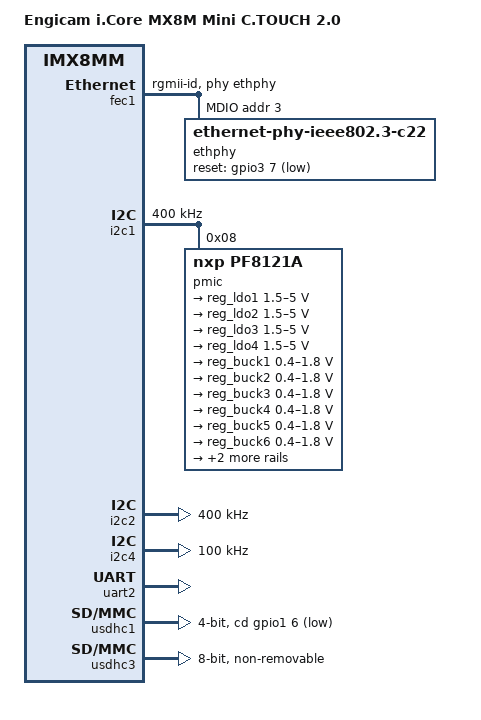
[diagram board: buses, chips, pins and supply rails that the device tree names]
// SPDX-License-Identifier: (GPL-2.0+ OR MIT)
/*
 * Copyright 2019 NXP
 */

/dts-v1/;

#include "imx8mm.dtsi"

/ {
	model = "Engicam i.Core MX8M Mini C.TOUCH 2.0";
	compatible = "engicam,icore-mx8mm-ctouch2", "engicam,icore-mx8mm",
                     "fsl,imx8mm";

	chosen {
		bootargs = "console=ttymxc1,115200 earlycon=ec_imx6q,0x30890000,115200";
		stdout-path = &uart2;
	};
};

&A53_0 {
	cpu-supply = <&reg_buck4>;
};

&A53_1 {
        cpu-supply = <&reg_buck4>;
};

&A53_2 {
        cpu-supply = <&reg_buck4>;
};

&A53_3 {
        cpu-supply = <&reg_buck4>;
};

&fec1 {
        pinctrl-names = "default";
        pinctrl-0 = <&pinctrl_fec1>;
        phy-mode = "rgmii-id";
        phy-handle = <&ethphy>;
	status="okay";

        mdio {
                #address-cells = <1>;
                #size-cells = <0>;

                ethphy: ethernet-phy@3 {
                        compatible = "ethernet-phy-ieee802.3-c22";
                        reg = <3>;
                        reset-gpios = <&gpio3 7 GPIO_ACTIVE_LOW>;
                        reset-assert-us = <10000>;
                };
        };
};

&i2c1 {
        clock-frequency = <400000>;
        pinctrl-names = "default";
        pinctrl-0 = <&pinctrl_i2c1>;
        status = "okay";

        pmic@8 {
                compatible = "nxp,pf8121a";
                reg = <0x08>;

                regulators {
                        reg_ldo1: ldo1 {
                                regulator-min-microvolt = <1500000>;
                                regulator-max-microvolt = <5000000>;
                                regulator-always-on;
                                regulator-boot-on;
                        };

                        reg_ldo2: ldo2 {
                                regulator-min-microvolt = <1500000>;
                                regulator-max-microvolt = <5000000>;
                                regulator-always-on;
                                regulator-boot-on;
                        };

                        reg_ldo3: ldo3 {
                                regulator-min-microvolt = <1500000>;
                                regulator-max-microvolt = <5000000>;
                                regulator-always-on;
                                regulator-boot-on;
                        };

                        reg_ldo4: ldo4 {
                                regulator-min-microvolt = <1500000>;
                                regulator-max-microvolt = <5000000>;
                                regulator-always-on;
                                regulator-boot-on;
                        };

                        reg_buck1: buck1 {
                                regulator-min-microvolt =  <400000>;
                                regulator-max-microvolt = <1800000>;
                                regulator-always-on;
                                regulator-boot-on;
                        };

			reg_buck2: buck2 {
                                regulator-min-microvolt =  <400000>;
                                regulator-max-microvolt = <1800000>;
                                regulator-always-on;
                                regulator-boot-on;
                        };

                        reg_buck3: buck3 {
                                regulator-min-microvolt =  <400000>;
                                regulator-max-microvolt = <1800000>;
                                regulator-always-on;
                                regulator-boot-on;
                        };

                        reg_buck4: buck4 {
                                regulator-min-microvolt =  <400000>;
                                regulator-max-microvolt = <1800000>;
                                regulator-always-on;
                                regulator-boot-on;
                        };

                        reg_buck5: buck5 {
                                regulator-min-microvolt =  <400000>;
                                regulator-max-microvolt = <1800000>;
                                regulator-always-on;
                                regulator-boot-on;
                        };

                        reg_buck6: buck6 {
                                regulator-min-microvolt =  <400000>;
                                regulator-max-microvolt = <1800000>;
                                regulator-always-on;
                                regulator-boot-on;
                        };

                        reg_buck7: buck7 {
                                regulator-min-microvolt = <3300000>;
                                regulator-max-microvolt = <3300000>;
                                regulator-always-on;
                                regulator-boot-on;
                        };

                        reg_vsnvs: vsnvs {
                                regulator-min-microvolt = <1800000>;
                                regulator-max-microvolt = <3300000>;
                                regulator-always-on;
                                regulator-boot-on;
                        };
                };
        };
};

&i2c2 {
	clock-frequency = <400000>;
	pinctrl-names = "default";
	pinctrl-0 = <&pinctrl_i2c2>;
	status = "okay";
};

&i2c4 {
        clock-frequency = <100000>;
        pinctrl-names = "default";
        pinctrl-0 = <&pinctrl_i2c4>;
        status = "okay";
};

&uart2 { /* console */
	pinctrl-names = "default";
	pinctrl-0 = <&pinctrl_uart2>;
	status = "okay";
};

&iomuxc {
	pinctrl-names = "default";

	pinctrl_fec1: fec1grp {
                fsl,pins = <
                        MX8MM_IOMUXC_ENET_MDC_ENET1_MDC                 0x3
                        MX8MM_IOMUXC_ENET_MDIO_ENET1_MDIO               0x3
                        MX8MM_IOMUXC_ENET_TD3_ENET1_RGMII_TD3           0x1f
                        MX8MM_IOMUXC_ENET_TD2_ENET1_RGMII_TD2           0x1f
                        MX8MM_IOMUXC_ENET_TD1_ENET1_RGMII_TD1           0x1f
                        MX8MM_IOMUXC_ENET_TD0_ENET1_RGMII_TD0           0x1f
                        MX8MM_IOMUXC_ENET_RD3_ENET1_RGMII_RD3           0x91
                        MX8MM_IOMUXC_ENET_RD2_ENET1_RGMII_RD2           0x91
                        MX8MM_IOMUXC_ENET_RD1_ENET1_RGMII_RD1           0x91
                        MX8MM_IOMUXC_ENET_RD0_ENET1_RGMII_RD0           0x91
                        MX8MM_IOMUXC_ENET_TXC_ENET1_RGMII_TXC           0x1f
                        MX8MM_IOMUXC_ENET_RXC_ENET1_RGMII_RXC           0x91
                        MX8MM_IOMUXC_ENET_RX_CTL_ENET1_RGMII_RX_CTL     0x91
                        MX8MM_IOMUXC_ENET_TX_CTL_ENET1_RGMII_TX_CTL     0x1f
                        MX8MM_IOMUXC_NAND_DATA01_GPIO3_IO7              0x19
                >;
        };

	pinctrl_i2c1: i2c1grp {
		fsl,pins = <
			MX8MM_IOMUXC_I2C1_SCL_I2C1_SCL			0x400001c3
			MX8MM_IOMUXC_I2C1_SDA_I2C1_SDA			0x400001c3
		>;
	};

	pinctrl_i2c2: i2c2grp {
		fsl,pins = <
			MX8MM_IOMUXC_I2C2_SCL_I2C2_SCL			0x400001c3
			MX8MM_IOMUXC_I2C2_SDA_I2C2_SDA			0x400001c3
		>;
	};

	pinctrl_i2c4: i2c4grp {
                fsl,pins = <
                        MX8MM_IOMUXC_I2C4_SCL_I2C4_SCL          0x400001c3
                        MX8MM_IOMUXC_I2C4_SDA_I2C4_SDA          0x400001c3
                >;
        };

	pinctrl_uart2: uart2grp {
		fsl,pins = <
			MX8MM_IOMUXC_UART2_RXD_UART2_DCE_RX	0x140
			MX8MM_IOMUXC_UART2_TXD_UART2_DCE_TX	0x140
		>;
	};

	pinctrl_usdhc1_gpio: usdhc1gpiogrp {
                fsl,pins = <
                        MX8MM_IOMUXC_GPIO1_IO06_GPIO1_IO6       0x41
                >;
        };

        pinctrl_usdhc1: usdhc1grp {
                fsl,pins = <
                        MX8MM_IOMUXC_SD1_CLK_USDHC1_CLK         0x190
                        MX8MM_IOMUXC_SD1_CMD_USDHC1_CMD         0x1d0
                        MX8MM_IOMUXC_SD1_DATA0_USDHC1_DATA0     0x1d0
                        MX8MM_IOMUXC_SD1_DATA1_USDHC1_DATA1     0x1d0
                        MX8MM_IOMUXC_SD1_DATA2_USDHC1_DATA2     0x1d0
                        MX8MM_IOMUXC_SD1_DATA3_USDHC1_DATA3     0x1d0
                >;
        };

	pinctrl_usdhc3: usdhc3grp {
                fsl,pins = <
                        MX8MM_IOMUXC_NAND_WE_B_USDHC3_CLK               0x190
                        MX8MM_IOMUXC_NAND_WP_B_USDHC3_CMD               0x1d0
                        MX8MM_IOMUXC_NAND_DATA04_USDHC3_DATA0           0x1d0
                        MX8MM_IOMUXC_NAND_DATA05_USDHC3_DATA1           0x1d0
                        MX8MM_IOMUXC_NAND_DATA06_USDHC3_DATA2           0x1d0
                        MX8MM_IOMUXC_NAND_DATA06_USDHC3_DATA2           0x1d0
                        MX8MM_IOMUXC_NAND_DATA07_USDHC3_DATA3           0x1d0
                        MX8MM_IOMUXC_NAND_RE_B_USDHC3_DATA4             0x1d0
                        MX8MM_IOMUXC_NAND_CE2_B_USDHC3_DATA5            0x1d0
                        MX8MM_IOMUXC_NAND_CE3_B_USDHC3_DATA6            0x1d0
                        MX8MM_IOMUXC_NAND_CLE_USDHC3_DATA7              0x1d0
                        MX8MM_IOMUXC_NAND_CE1_B_USDHC3_STROBE           0x190
                >;
        };

        pinctrl_usdhc3_100mhz: usdhc3-100mhzgrp {
                fsl,pins = <
                        MX8MM_IOMUXC_NAND_WE_B_USDHC3_CLK               0x194
                        MX8MM_IOMUXC_NAND_WP_B_USDHC3_CMD               0x1d4
                        MX8MM_IOMUXC_NAND_DATA04_USDHC3_DATA0           0x1d4
                        MX8MM_IOMUXC_NAND_DATA05_USDHC3_DATA1           0x1d4
                        MX8MM_IOMUXC_NAND_DATA06_USDHC3_DATA2           0x1d4
                        MX8MM_IOMUXC_NAND_DATA07_USDHC3_DATA3           0x1d4
                        MX8MM_IOMUXC_NAND_RE_B_USDHC3_DATA4             0x1d4
                        MX8MM_IOMUXC_NAND_CE2_B_USDHC3_DATA5            0x1d4
                        MX8MM_IOMUXC_NAND_CE3_B_USDHC3_DATA6            0x1d4
                        MX8MM_IOMUXC_NAND_CLE_USDHC3_DATA7              0x1d4
                        MX8MM_IOMUXC_NAND_CE1_B_USDHC3_STROBE           0x194
                >;
        };

        pinctrl_usdhc3_200mhz: usdhc3-200mhzgrp {
                fsl,pins = <
                        MX8MM_IOMUXC_NAND_WE_B_USDHC3_CLK               0x196
                        MX8MM_IOMUXC_NAND_WP_B_USDHC3_CMD               0x1d6
                        MX8MM_IOMUXC_NAND_DATA04_USDHC3_DATA0           0x1d6
                        MX8MM_IOMUXC_NAND_DATA05_USDHC3_DATA1           0x1d6
                        MX8MM_IOMUXC_NAND_DATA06_USDHC3_DATA2           0x1d6
                        MX8MM_IOMUXC_NAND_DATA07_USDHC3_DATA3           0x1d6
                        MX8MM_IOMUXC_NAND_RE_B_USDHC3_DATA4             0x1d6
                        MX8MM_IOMUXC_NAND_CE2_B_USDHC3_DATA5            0x1d6
                        MX8MM_IOMUXC_NAND_CE3_B_USDHC3_DATA6            0x1d6
                        MX8MM_IOMUXC_NAND_CLE_USDHC3_DATA7              0x1d6
                        MX8MM_IOMUXC_NAND_CE1_B_USDHC3_STROBE           0x196
                >;
        };
};

/* SD */
&usdhc1 {
        pinctrl-names = "default";
        pinctrl-0 = <&pinctrl_usdhc1>, <&pinctrl_usdhc1_gpio>;
        cd-gpios = <&gpio1 6 GPIO_ACTIVE_LOW>;
        max-frequency = <50000000>;
        bus-width = <4>;
        no-1-8-v;
        pm-ignore-notify;
        keep-power-in-suspend;
        status = "okay";
};

/* eMMC */
&usdhc3 {
        pinctrl-names = "default", "state_100mhz", "state_200mhz";
        pinctrl-0 = <&pinctrl_usdhc3>;
        pinctrl-1 = <&pinctrl_usdhc3_100mhz>;
        pinctrl-2 = <&pinctrl_usdhc3_200mhz>;
        bus-width = <8>;
        non-removable;
        status = "okay";
};
